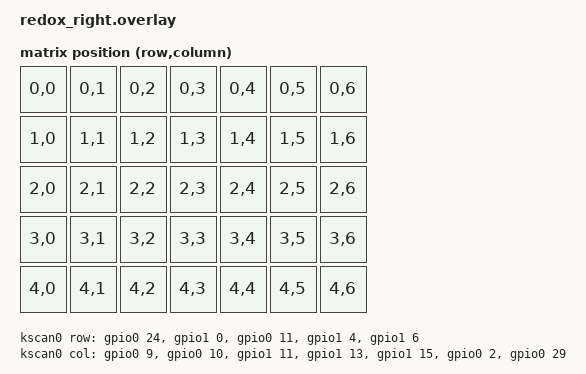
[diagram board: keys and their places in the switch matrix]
#include <dt-bindings/zmk/matrix_transform.h>
/ {
    chosen {
        zmk,kscan = &kscan0;
        zmk,matrix-transform = &dvv_transform;
    };

    kscan0: kscan {
        compatible = "zmk,kscan-gpio-matrix";
        diode-direction = "col2row";
        
        /* 5 рядов: используем те же пины, что и в левой половине */
        row-gpios = <&gpio0 24 (GPIO_ACTIVE_HIGH | GPIO_PULL_DOWN)>,  // D5
                    <&gpio1 0 (GPIO_ACTIVE_HIGH | GPIO_PULL_DOWN)>,   // D6
                    <&gpio0 11 (GPIO_ACTIVE_HIGH | GPIO_PULL_DOWN)>,  // D7
                    <&gpio1 4 (GPIO_ACTIVE_HIGH | GPIO_PULL_DOWN)>,   // D8
                    <&gpio1 6 (GPIO_ACTIVE_HIGH | GPIO_PULL_DOWN)>;   // D9

        /* 7 столбцов: используем те же пины, что и в левой половине */
        col-gpios = <&gpio0 9 GPIO_ACTIVE_HIGH>,   // D10
                    <&gpio0 10 GPIO_ACTIVE_HIGH>,  // D16
                    <&gpio1 11 GPIO_ACTIVE_HIGH>,  // D14
                    <&gpio1 13 GPIO_ACTIVE_HIGH>,  // D15
                    <&gpio1 15 GPIO_ACTIVE_HIGH>,  // D18
                    <&gpio0 2 GPIO_ACTIVE_HIGH>,   // D19
                    <&gpio0 29 GPIO_ACTIVE_HIGH>;  // D20
    };

    dvv_transform: matrix_transform {
        compatible = "zmk,matrix-transform";
        rows = <5>;
        columns = <7>;
        map = <
            RC(0,0) RC(0,1) RC(0,2) RC(0,3) RC(0,4) RC(0,5) RC(0,6)
            RC(1,0) RC(1,1) RC(1,2) RC(1,3) RC(1,4) RC(1,5) RC(1,6)
            RC(2,0) RC(2,1) RC(2,2) RC(2,3) RC(2,4) RC(2,5) RC(2,6)
            RC(3,0) RC(3,1) RC(3,2) RC(3,3) RC(3,4) RC(3,5) RC(3,6)
            RC(4,0) RC(4,1) RC(4,2) RC(4,3) RC(4,4) RC(4,5) RC(4,6)
        >;
    };
};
